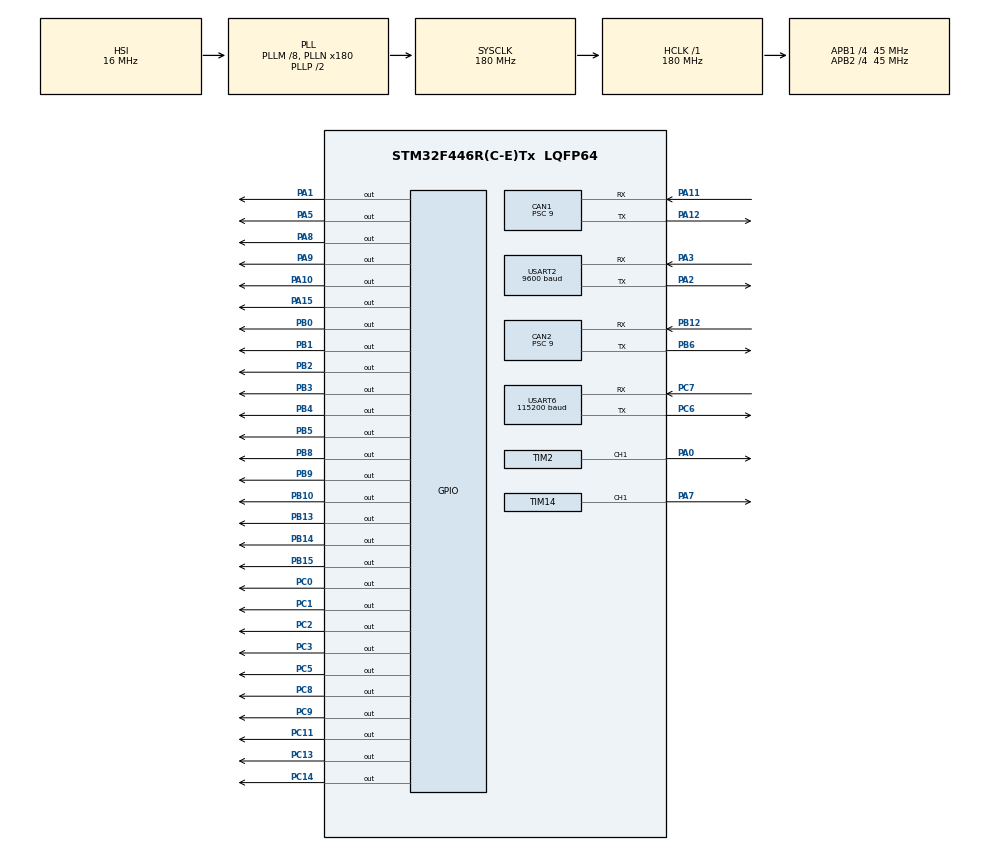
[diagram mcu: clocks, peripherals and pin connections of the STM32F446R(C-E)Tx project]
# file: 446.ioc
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CAN1.BS1=CAN_BS1_5TQ
CAN1.BS2=CAN_BS2_4TQ
CAN1.CalculateBaudRate=500000
CAN1.CalculateTimeBit=2000
CAN1.CalculateTimeQuantum=200.0
CAN1.Mode=CAN_MODE_NORMAL
CAN1.Prescaler=9
CAN2.BS1=CAN_BS1_5TQ
CAN2.BS2=CAN_BS2_4TQ
CAN2.CalculateBaudRate=500000
CAN2.CalculateTimeBit=2000
CAN2.CalculateTimeQuantum=200.0
CAN2.Mode=CAN_MODE_NORMAL
CAN2.Prescaler=9
Dma.Request0=TIM2_CH1
Dma.TIM2_CH1.0.Direction=DMA_MEMORY_TO_PERIPH
Dma.TIM2_CH1.0.FIFOMode=DMA_FIFOMODE_DISABLE
Dma.TIM2_CH1.0.Instance=DMA1_Stream5
Dma.TIM2_CH1.0.MemDataAlignment=DMA_MDATAALIGN_HALFWORD
Dma.TIM2_CH1.0.MemInc=DMA_MINC_ENABLE
Dma.TIM2_CH1.0.Mode=DMA_NORMAL
Dma.TIM2_CH1.0.PeriphDataAlignment=DMA_PDATAALIGN_HALFWORD
Dma.TIM2_CH1.0.PeriphInc=DMA_PINC_DISABLE
Dma.TIM2_CH1.0.Priority=DMA_PRIORITY_LOW
Mcu.Family=STM32F4
Mcu.Name=STM32F446R(C-E)Tx
Mcu.Package=LQFP64
NVIC.CAN1_RX0_IRQn=true\:2\:0\:true\:false\:true\:true\:true\:true
NVIC.CAN2_RX0_IRQn=true\:0\:0\:false\:false\:true\:true\:true\:true
NVIC.DMA1_Stream5_IRQn=true\:0\:0\:false\:false\:true\:false\:true\:true
NVIC.PriorityGroup=NVIC_PRIORITYGROUP_4
NVIC.TIM2_IRQn=true\:0\:0\:false\:false\:true\:true\:true\:true
NVIC.TIM8_TRG_COM_TIM14_IRQn=true\:2\:0\:true\:false\:true\:true\:true\:true
PA0-WKUP.Signal=S_TIM2_CH1_ETR
PA1.Signal=GPIO_Output
PA10.Signal=GPIO_Output
PA11.Mode=CAN_Activate
PA11.Signal=CAN1_RX
PA12.Mode=CAN_Activate
PA12.Signal=CAN1_TX
PA13.Mode=Serial_Wire
PA13.Signal=SYS_JTMS-SWDIO
PA14.Mode=Serial_Wire
PA14.Signal=SYS_JTCK-SWCLK
PA15.Signal=GPIO_Output
PA2.Mode=Asynchronous
PA2.Signal=USART2_TX
PA3.Mode=Asynchronous
PA3.Signal=USART2_RX
PA4.Signal=SPI1_NSS
PA5.Signal=GPIO_Output
PA7.Signal=S_TIM14_CH1
PA8.Signal=GPIO_Output
PA9.Signal=GPIO_Output
PB0.Signal=GPIO_Output
PB1.Signal=GPIO_Output
PB10.Signal=GPIO_Output
PB12.Mode=CAN_Activate
PB12.Signal=CAN2_RX
PB13.Signal=GPIO_Output
PB14.Signal=GPIO_Output
PB15.Signal=GPIO_Output
PB2.Signal=GPIO_Output
PB3.Signal=GPIO_Output
PB4.Signal=GPIO_Output
PB5.Signal=GPIO_Output
PB6.Mode=CAN_Activate
PB6.Signal=CAN2_TX
PB8.Signal=GPIO_Output
PB9.Signal=GPIO_Output
PC0.Signal=GPIO_Output
PC1.Signal=GPIO_Output
PC11.Signal=GPIO_Output
PC13.Signal=GPIO_Output
PC14-OSC32_IN.Signal=GPIO_Output
PC2.Signal=GPIO_Output
PC3.Signal=GPIO_Output
PC5.Signal=GPIO_Output
PC6.Mode=Asynchronous
PC6.Signal=USART6_TX
PC7.Mode=Asynchronous
PC7.Signal=USART6_RX
PC8.Signal=GPIO_Output
PC9.Signal=GPIO_Output
PH0-OSC_IN.Mode=HSE-External-Oscillator
PH0-OSC_IN.Signal=RCC_OSC_IN
PH1-OSC_OUT.Mode=HSE-External-Oscillator
PH1-OSC_OUT.Signal=RCC_OSC_OUT
ProjectManager.HeapSize=0x200
ProjectManager.StackSize=0x400
ProjectManager.TargetToolchain=STM32CubeIDE
RCC.AHBFreq_Value=180000000
RCC.APB1CLKDivider=RCC_HCLK_DIV4
RCC.APB1Freq_Value=45000000
RCC.APB1TimFreq_Value=90000000
RCC.APB2CLKDivider=RCC_HCLK_DIV4
RCC.APB2Freq_Value=45000000
RCC.APB2TimFreq_Value=90000000
RCC.CortexFreq_Value=180000000
RCC.HCLKFreq_Value=180000000
RCC.HSE_VALUE=8000000
RCC.PLLM=8
RCC.PLLN=180
RCC.SYSCLKFreq_VALUE=180000000
RCC.SYSCLKSource=RCC_SYSCLKSOURCE_PLLCLK
RCC.USBFreq_Value=180000000
RCC.VCOOutputFreq_Value=360000000
SH.S_TIM14_CH1.0=TIM14_CH1,PWM Generation1 CH1
SH.S_TIM2_CH1_ETR.0=TIM2_CH1,PWM Generation1 CH1
TIM14.Channel=TIM_CHANNEL_1
TIM14.Period=112.5 - 1
TIM14.Prescaler=0
TIM2.Channel-PWM\ Generation1\ CH1=TIM_CHANNEL_1
TIM2.Period=112
USART2.BaudRate=9600
USART2.VirtualMode=VM_ASYNC
USART6.BaudRate=115200
USART6.VirtualMode=VM_ASYNC
VP_TIM14_VS_ClockSourceINT.Mode=Enable_Timer
VP_TIM2_VS_ClockSourceINT.Mode=Internal
board=custom

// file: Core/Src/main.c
/* USER CODE BEGIN Header */
/**
  ******************************************************************************
  * @file           : main.c
  * @brief          : Main program body
  ******************************************************************************
  * @attention
  *
  * Copyright (c) 2024 STMicroelectronics.
  * All rights reserved.
  *
  * This software is licensed under terms that can be found in the LICENSE file
  * in the root directory of this software component.
  * If no LICENSE file comes with this software, it is provided AS-IS.
  *
  ******************************************************************************
  */
/* USER CODE END Header */
#include "main.h"

/* USER CODE BEGIN Includes */
#include "lcd.h"
#include "display.h"
#include "CAN.h"
#include <string.h>
#include <stdio.h>
#include <math.h>

/* USER CODE END Includes */

CAN_HandleTypeDef hcan1;
CAN_HandleTypeDef hcan2;

TIM_HandleTypeDef htim2;
TIM_HandleTypeDef htim14;
DMA_HandleTypeDef hdma_tim2_ch1;

UART_HandleTypeDef huart2;
UART_HandleTypeDef huart6;

/* USER CODE BEGIN PV */
CAN_TxHeaderTypeDef TxHeader;
CAN_RxHeaderTypeDef RxHeader; //global??
uint32_t TxMailbox;
uint8_t TxData[8];
uint8_t RxData[8];

Lcd_HandleTypeDef lcd;

char lcdbuffer[32]; // buffer to hold the data we are displaying
char lcdbuffer2[32];
int batt_volt;
volatile int sixty = 70;
uint8_t rxflag = 0;
uint32_t volt = 0;

/* USER CODE END PV */

void SystemClock_Config(void);
static void MX_GPIO_Init(void);
static void MX_DMA_Init(void);
static void MX_TIM14_Init(void);
static void MX_USART2_UART_Init(void);
static void MX_CAN2_Init(void);
static void MX_CAN1_Init(void);
static void MX_TIM2_Init(void);
static void MX_USART6_UART_Init(void);

int main(void)
{

  /* USER CODE BEGIN 1 */

	// UART parameters to display voltage
//	char voltage_buf[20];
//	char oil_buf[20];
//	char the_header[50];

  /* USER CODE END 1 */

  /* MCU Configuration--------------------------------------------------------*/

  /* Reset of all peripherals, Initializes the Flash interface and the Systick. */
  HAL_Init();

  /* Configure the system clock */
  SystemClock_Config();

  /* Initialize all configured peripherals */
  MX_GPIO_Init();
  MX_DMA_Init();
  MX_TIM14_Init();
  MX_USART2_UART_Init();
  MX_CAN2_Init();
  MX_CAN1_Init();
  MX_TIM2_Init();
  MX_USART6_UART_Init();
  /* USER CODE BEGIN 2 */
HAL_GPIO_WritePin(GPIOC, GPIO_PIN_1, GPIO_PIN_SET);
HAL_GPIO_WritePin(GPIOA, GPIO_PIN_15, GPIO_PIN_SET);
//HAL_GPIO_WritePin(GPIOC, GPIO_PIN_10, GPIO_PIN_SET);
//HAL_GPIO_WritePin(GPIOC, GPIO_PIN_3, GPIO_PIN_SET);
//HAL_GPIO_WritePin(GPIOC, GPIO_PIN_13, GPIO_PIN_SET);

  // timer is started
  HAL_TIM_Base_Start_IT(&htim14); // starts the timer interrupt
  //HAL_TIM_Base_Start_IT(&htim7);

//
  Lcd_PortType ports[] = {
		  D4_GPIO_Port, D5_GPIO_Port, D6_GPIO_Port, D7_GPIO_Port
  };

  Lcd_PinType pins[] = {D4_Pin, D5_Pin, D6_Pin, D7_Pin};

 lcd = Lcd_create(ports, pins, RS_GPIO_Port, RS_Pin, EN_GPIO_Port, EN_Pin, LCD_4_BIT_MODE);
 Lcd_clear(&lcd);
batt_volt = 5;

  /* USER CODE END 2 */

  /* Infinite loop */
  /* USER CODE BEGIN WHILE */

  while (1)
  {

//
	// int rpm = ((RxData[0] << 8) | RxData[1]);
	//  int rpm = ((RxData[0] | RxData[1]) << 8) * 6;

	  int rpm = (RxData[1] + (256 * RxData[0]));
	  int coolant = RxData[2];
	  int oil = RxData[3];
	  int bv = RxData[5];

	 if (rxflag){

		 rxflag = 0;

		 if (rpm > 0 || coolant > 0 || oil > 0 || bv > 0){

			 // int voltvalue = RxData[5];

		        //Lcd_clear(&lcd);
			 	Lcd_cursor(&lcd, 0, 0);
		        sprintf(lcdbuffer, "BV:%2d.%1d RPM:%5d", bv / 10, bv % 10, rpm);
		    	Lcd_string(&lcd, lcdbuffer);
//		        HAL_Delay(100);
		    //	Lcd_clear(&lcd);

		    	// condition 2:

		    	Lcd_cursor(&lcd, 1, 0);
		    	 sprintf(lcdbuffer, "OIL: %2d CT: %2d  ", oil, coolant);
		    	 Lcd_string(&lcd, lcdbuffer);
				    //	Lcd_clear(&lcd);
		    	 HAL_Delay(100);

		 }
//		 unsigned int uart_buffer_expression = sprintf(lcdbuffer2, "%u\r\n", RxData[5]);
//
//
//				         	  HAL_UART_Transmit(&huart2, (uint8_t *)lcdbuffer2, uart_buffer_expression, HAL_MAX_DELAY);

	//	 }
	 }

	 else {
		// HAL_GPIO_TogglePin(GPIOC, GPIO_PIN_10);

//
		 Lcd_cursor(&lcd, 0, 0);
		     Lcd_string(&lcd, "BV: 0.0 RPM:  0 ");

		     Lcd_cursor(&lcd, 1, 0);
		     Lcd_string(&lcd, "OIL:  0 CT:  0  ");

		 		    	    HAL_Delay(80);

		 		    	  //  Lcd_clear(&lcd);

	 }

		char arduino_msg[20];  // Create a buffer to hold the converted integer message

	    // Convert the integer value to a string
	 //   sprintf(arduino_msg, "%d\n", RxData[5]);
		sprintf(arduino_msg, "%d\n", rpm);

	    // Transmit the string over UART6
	    HAL_UART_Transmit(&huart6, (uint8_t*)arduino_msg, strlen(arduino_msg), HAL_MAX_DELAY);

//
	   HAL_Delay(300); // delay of 1ms // was 500

    /* USER CODE END WHILE */

  }
}

void SystemClock_Config(void)
{
  RCC_OscInitTypeDef RCC_OscInitStruct = {0};
  RCC_ClkInitTypeDef RCC_ClkInitStruct = {0};

  /** Configure the main internal regulator output voltage
  */
  __HAL_RCC_PWR_CLK_ENABLE();
  __HAL_PWR_VOLTAGESCALING_CONFIG(PWR_REGULATOR_VOLTAGE_SCALE1);

  /** Initializes the RCC Oscillators according to the specified parameters
  * in the RCC_OscInitTypeDef structure.
  */
  RCC_OscInitStruct.OscillatorType = RCC_OSCILLATORTYPE_HSI;
  RCC_OscInitStruct.HSIState = RCC_HSI_ON;
  RCC_OscInitStruct.HSICalibrationValue = RCC_HSICALIBRATION_DEFAULT;
  RCC_OscInitStruct.PLL.PLLState = RCC_PLL_ON;
  RCC_OscInitStruct.PLL.PLLSource = RCC_PLLSOURCE_HSI;
  RCC_OscInitStruct.PLL.PLLM = 8;
  RCC_OscInitStruct.PLL.PLLN = 180;
  RCC_OscInitStruct.PLL.PLLP = RCC_PLLP_DIV2;
  RCC_OscInitStruct.PLL.PLLQ = 2;
  RCC_OscInitStruct.PLL.PLLR = 2;
  if (HAL_RCC_OscConfig(&RCC_OscInitStruct) != HAL_OK)
  {
    Error_Handler();
  }

  /** Activate the Over-Drive mode
  */
  if (HAL_PWREx_EnableOverDrive() != HAL_OK)
  {
    Error_Handler();
  }

  /** Initializes the CPU, AHB and APB buses clocks
  */
  RCC_ClkInitStruct.ClockType = RCC_CLOCKTYPE_HCLK|RCC_CLOCKTYPE_SYSCLK
                              |RCC_CLOCKTYPE_PCLK1|RCC_CLOCKTYPE_PCLK2;
  RCC_ClkInitStruct.SYSCLKSource = RCC_SYSCLKSOURCE_PLLCLK;
  RCC_ClkInitStruct.AHBCLKDivider = RCC_SYSCLK_DIV1;
  RCC_ClkInitStruct.APB1CLKDivider = RCC_HCLK_DIV4;
  RCC_ClkInitStruct.APB2CLKDivider = RCC_HCLK_DIV4;

  if (HAL_RCC_ClockConfig(&RCC_ClkInitStruct, FLASH_LATENCY_5) != HAL_OK)
  {
    Error_Handler();
  }
}

static void MX_CAN1_Init(void)
{

  hcan1.Instance = CAN1;
  hcan1.Init.Prescaler = 9;
  hcan1.Init.Mode = CAN_MODE_NORMAL;
  hcan1.Init.SyncJumpWidth = CAN_SJW_1TQ;
  hcan1.Init.TimeSeg1 = CAN_BS1_5TQ;
  hcan1.Init.TimeSeg2 = CAN_BS2_4TQ;
  hcan1.Init.TimeTriggeredMode = DISABLE;
  hcan1.Init.AutoBusOff = DISABLE;
  hcan1.Init.AutoWakeUp = DISABLE;
  hcan1.Init.AutoRetransmission = DISABLE;
  hcan1.Init.ReceiveFifoLocked = DISABLE;
  hcan1.Init.TransmitFifoPriority = DISABLE;
  if (HAL_CAN_Init(&hcan1) != HAL_OK)
  {
    Error_Handler();
  }
  /* USER CODE BEGIN CAN1_Init 2 */

  	  	  	  CAN_FilterTypeDef  canonefilter;

    		  canonefilter.FilterBank = 1; //change to 1 if CAN stops working
    		  canonefilter.FilterMode = CAN_FILTERMODE_IDMASK;
    		  canonefilter.FilterScale = CAN_FILTERSCALE_32BIT;
    		  canonefilter.FilterIdHigh = 0x0000;
    		  canonefilter.FilterIdLow = 0x0000;
    		  canonefilter.FilterMaskIdHigh = 0x0000;
    		  canonefilter.FilterMaskIdLow = 0x0000;
    		  canonefilter.FilterFIFOAssignment = CAN_RX_FIFO0;
    		  canonefilter.FilterActivation = CAN_FILTER_ENABLE;
    		  canonefilter.SlaveStartFilterBank = 1; // meaningless in our context

    		  	  HAL_CAN_ConfigFilter(&hcan1, &canonefilter);
    		  	  HAL_CAN_Start(&hcan1);

    		  	  HAL_CAN_ActivateNotification(&hcan1, CAN_IT_RX_FIFO0_MSG_PENDING); // potentially not needed

  /* USER CODE END CAN1_Init 2 */

}

static void MX_CAN2_Init(void)
{

  hcan2.Instance = CAN2;
  hcan2.Init.Prescaler = 9;
  hcan2.Init.Mode = CAN_MODE_NORMAL;
  hcan2.Init.SyncJumpWidth = CAN_SJW_1TQ;
  hcan2.Init.TimeSeg1 = CAN_BS1_5TQ;
  hcan2.Init.TimeSeg2 = CAN_BS2_4TQ;
  hcan2.Init.TimeTriggeredMode = DISABLE;
  hcan2.Init.AutoBusOff = DISABLE;
  hcan2.Init.AutoWakeUp = DISABLE;
  hcan2.Init.AutoRetransmission = DISABLE;
  hcan2.Init.ReceiveFifoLocked = DISABLE;
  hcan2.Init.TransmitFifoPriority = DISABLE;
  if (HAL_CAN_Init(&hcan2) != HAL_OK)
  {
    Error_Handler();
  }
  /* USER CODE BEGIN CAN2_Init 2 */

  CAN_FilterTypeDef  canfilterconfig;

  		  canfilterconfig.FilterBank = 1; //change to 1 if CAN stops working
  		  canfilterconfig.FilterMode = CAN_FILTERMODE_IDMASK;
  		  canfilterconfig.FilterScale = CAN_FILTERSCALE_32BIT;
  		  canfilterconfig.FilterIdHigh = 0x0000;
  		  canfilterconfig.FilterIdLow = 0x0000;
  		  canfilterconfig.FilterMaskIdHigh = 0x0000;
  		  canfilterconfig.FilterMaskIdLow = 0x0000;
  		  canfilterconfig.FilterFIFOAssignment = CAN_RX_FIFO0;
  		  canfilterconfig.FilterActivation = CAN_FILTER_ENABLE;
  		  canfilterconfig.SlaveStartFilterBank = 14; // meaningless in our context

  		  	  HAL_CAN_ConfigFilter(&hcan2, &canfilterconfig);
  		  	  HAL_CAN_Start(&hcan2);

  		  	  HAL_CAN_ActivateNotification(&hcan2, CAN_IT_RX_FIFO0_MSG_PENDING);

  	  	    TxHeader.StdId = 0x0446;  // ID 2 (to match H7's filter)
 	        TxHeader.IDE = CAN_ID_STD;  // Standard ID
 	        TxHeader.RTR = CAN_RTR_DATA;  // Data frame
 	        TxHeader.DLC = 8;  // Length of data (3 bytes)
 	        TxHeader.TransmitGlobalTime = DISABLE;

  /* USER CODE END CAN2_Init 2 */

}

static void MX_TIM2_Init(void)
{

  TIM_ClockConfigTypeDef sClockSourceConfig = {0};
  TIM_MasterConfigTypeDef sMasterConfig = {0};
  TIM_OC_InitTypeDef sConfigOC = {0};

  htim2.Instance = TIM2;
  htim2.Init.Prescaler = 0;
  htim2.Init.CounterMode = TIM_COUNTERMODE_UP;
  htim2.Init.Period = 112;
  htim2.Init.ClockDivision = TIM_CLOCKDIVISION_DIV1;
  htim2.Init.AutoReloadPreload = TIM_AUTORELOAD_PRELOAD_DISABLE;
  if (HAL_TIM_Base_Init(&htim2) != HAL_OK)
  {
    Error_Handler();
  }
  sClockSourceConfig.ClockSource = TIM_CLOCKSOURCE_INTERNAL;
  if (HAL_TIM_ConfigClockSource(&htim2, &sClockSourceConfig) != HAL_OK)
  {
    Error_Handler();
  }
  if (HAL_TIM_PWM_Init(&htim2) != HAL_OK)
  {
    Error_Handler();
  }
  sMasterConfig.MasterOutputTrigger = TIM_TRGO_RESET;
  sMasterConfig.MasterSlaveMode = TIM_MASTERSLAVEMODE_DISABLE;
  if (HAL_TIMEx_MasterConfigSynchronization(&htim2, &sMasterConfig) != HAL_OK)
  {
    Error_Handler();
  }
  sConfigOC.OCMode = TIM_OCMODE_PWM1;
  sConfigOC.Pulse = 0;
  sConfigOC.OCPolarity = TIM_OCPOLARITY_HIGH;
  sConfigOC.OCFastMode = TIM_OCFAST_DISABLE;
  if (HAL_TIM_PWM_ConfigChannel(&htim2, &sConfigOC, TIM_CHANNEL_1) != HAL_OK)
  {
    Error_Handler();
  }
  HAL_TIM_MspPostInit(&htim2);

}

static void MX_TIM14_Init(void)
{

  TIM_OC_InitTypeDef sConfigOC = {0};

  htim14.Instance = TIM14;
  htim14.Init.Prescaler = 0;
  htim14.Init.CounterMode = TIM_COUNTERMODE_UP;
  htim14.Init.Period = 112.5 - 1;
  htim14.Init.ClockDivision = TIM_CLOCKDIVISION_DIV1;
  htim14.Init.AutoReloadPreload = TIM_AUTORELOAD_PRELOAD_DISABLE;
  if (HAL_TIM_Base_Init(&htim14) != HAL_OK)
  {
    Error_Handler();
  }
  if (HAL_TIM_PWM_Init(&htim14) != HAL_OK)
  {
    Error_Handler();
  }
  sConfigOC.OCMode = TIM_OCMODE_PWM1;
  sConfigOC.Pulse = 0;
  sConfigOC.OCPolarity = TIM_OCPOLARITY_HIGH;
  sConfigOC.OCFastMode = TIM_OCFAST_DISABLE;
  if (HAL_TIM_PWM_ConfigChannel(&htim14, &sConfigOC, TIM_CHANNEL_1) != HAL_OK)
  {
    Error_Handler();
  }
  HAL_TIM_MspPostInit(&htim14);

}

static void MX_USART2_UART_Init(void)
{

  huart2.Instance = USART2;
  huart2.Init.BaudRate = 9600;
  huart2.Init.WordLength = UART_WORDLENGTH_8B;
  huart2.Init.StopBits = UART_STOPBITS_1;
  huart2.Init.Parity = UART_PARITY_NONE;
  huart2.Init.Mode = UART_MODE_TX_RX;
  huart2.Init.HwFlowCtl = UART_HWCONTROL_NONE;
  huart2.Init.OverSampling = UART_OVERSAMPLING_16;
  if (HAL_UART_Init(&huart2) != HAL_OK)
  {
    Error_Handler();
  }

}

static void MX_USART6_UART_Init(void)
{

  huart6.Instance = USART6;
  huart6.Init.BaudRate = 115200;
  huart6.Init.WordLength = UART_WORDLENGTH_8B;
  huart6.Init.StopBits = UART_STOPBITS_1;
  huart6.Init.Parity = UART_PARITY_NONE;
  huart6.Init.Mode = UART_MODE_TX_RX;
  huart6.Init.HwFlowCtl = UART_HWCONTROL_NONE;
  huart6.Init.OverSampling = UART_OVERSAMPLING_16;
  if (HAL_UART_Init(&huart6) != HAL_OK)
  {
    Error_Handler();
  }

}

static void MX_DMA_Init(void)
{

  /* DMA controller clock enable */
  __HAL_RCC_DMA1_CLK_ENABLE();

  /* DMA interrupt init */
  /* DMA1_Stream5_IRQn interrupt configuration */
  HAL_NVIC_SetPriority(DMA1_Stream5_IRQn, 0, 0);
  HAL_NVIC_EnableIRQ(DMA1_Stream5_IRQn);

}

static void MX_GPIO_Init(void)
{
  GPIO_InitTypeDef GPIO_InitStruct = {0};

  /* GPIO Ports Clock Enable */
  __HAL_RCC_GPIOC_CLK_ENABLE();
  __HAL_RCC_GPIOH_CLK_ENABLE();
  __HAL_RCC_GPIOA_CLK_ENABLE();
  __HAL_RCC_GPIOB_CLK_ENABLE();

  /*Configure GPIO pin Output Level */
  HAL_GPIO_WritePin(GPIOC, GPIO_PIN_13|GPIO_PIN_14|GPIO_PIN_0|GPIO_PIN_1
                          |GPIO_PIN_2|GPIO_PIN_3|GPIO_PIN_5|GPIO_PIN_8
                          |GPIO_PIN_9|GPIO_PIN_11, GPIO_PIN_RESET);

  /*Configure GPIO pin Output Level */
  HAL_GPIO_WritePin(GPIOA, GPIO_PIN_1|GPIO_PIN_5|GPIO_PIN_8|GPIO_PIN_9
                          |GPIO_PIN_10|GPIO_PIN_15, GPIO_PIN_RESET);

  /*Configure GPIO pin Output Level */
  HAL_GPIO_WritePin(GPIOB, GPIO_PIN_0|GPIO_PIN_1|GPIO_PIN_2|GPIO_PIN_10
                          |GPIO_PIN_13|GPIO_PIN_14|GPIO_PIN_15|GPIO_PIN_3
                          |GPIO_PIN_4|GPIO_PIN_5|GPIO_PIN_8|GPIO_PIN_9, GPIO_PIN_RESET);

  /*Configure GPIO pins : PC13 PC14 PC0 PC1
                           PC2 PC3 PC5 PC8
                           PC9 PC11 */
  GPIO_InitStruct.Pin = GPIO_PIN_13|GPIO_PIN_14|GPIO_PIN_0|GPIO_PIN_1
                          |GPIO_PIN_2|GPIO_PIN_3|GPIO_PIN_5|GPIO_PIN_8
                          |GPIO_PIN_9|GPIO_PIN_11;
  GPIO_InitStruct.Mode = GPIO_MODE_OUTPUT_PP;
  GPIO_InitStruct.Pull = GPIO_NOPULL;
  GPIO_InitStruct.Speed = GPIO_SPEED_FREQ_LOW;
  HAL_GPIO_Init(GPIOC, &GPIO_InitStruct);

  /*Configure GPIO pins : PA1 PA5 PA8 PA9
                           PA10 PA15 */
  GPIO_InitStruct.Pin = GPIO_PIN_1|GPIO_PIN_5|GPIO_PIN_8|GPIO_PIN_9
                          |GPIO_PIN_10|GPIO_PIN_15;
  GPIO_InitStruct.Mode = GPIO_MODE_OUTPUT_PP;
  GPIO_InitStruct.Pull = GPIO_NOPULL;
  GPIO_InitStruct.Speed = GPIO_SPEED_FREQ_LOW;
  HAL_GPIO_Init(GPIOA, &GPIO_InitStruct);

  /*Configure GPIO pin : PA4 */
  GPIO_InitStruct.Pin = GPIO_PIN_4;
  GPIO_InitStruct.Mode = GPIO_MODE_AF_PP;
  GPIO_InitStruct.Pull = GPIO_NOPULL;
  GPIO_InitStruct.Speed = GPIO_SPEED_FREQ_VERY_HIGH;
  GPIO_InitStruct.Alternate = GPIO_AF5_SPI1;
  HAL_GPIO_Init(GPIOA, &GPIO_InitStruct);

  /*Configure GPIO pins : PB0 PB1 PB2 PB10
                           PB13 PB14 PB15 PB3
                           PB4 PB5 PB8 PB9 */
  GPIO_InitStruct.Pin = GPIO_PIN_0|GPIO_PIN_1|GPIO_PIN_2|GPIO_PIN_10
                          |GPIO_PIN_13|GPIO_PIN_14|GPIO_PIN_15|GPIO_PIN_3
                          |GPIO_PIN_4|GPIO_PIN_5|GPIO_PIN_8|GPIO_PIN_9;
  GPIO_InitStruct.Mode = GPIO_MODE_OUTPUT_PP;
  GPIO_InitStruct.Pull = GPIO_NOPULL;
  GPIO_InitStruct.Speed = GPIO_SPEED_FREQ_LOW;
  HAL_GPIO_Init(GPIOB, &GPIO_InitStruct);

}

/* USER CODE BEGIN 4 */

void HAL_CAN_RxFifo0MsgPendingCallback(CAN_HandleTypeDef *hcan)
{

	// changed values hcan->Instance = CAN2 and inside get hcan -> &hcan2

	if (hcan->Instance == CAN2) {
  /* Get RX message */
  if (HAL_CAN_GetRxMessage(hcan, CAN_RX_FIFO0, &RxHeader, RxData) != HAL_OK)
  {

    /* Reception Error */
    Error_Handler();
  	  }

  	//  batt_volt = RxData[5];
    	rxflag = 1;

    //	  int rpm2 = (RxData[1] + (256 * RxData[0]));

//    	int rpm2 = (RxData[1] + (256 * RxData[0]));
//
//
//      //uint32_t voltage = RxData[5];
//	  	//  char uart_buffer[20];
//	    //  unsigned int uart_buffer_size = sprintf(uart_buffer, "StdId: 0x%3X\r\n", (unsigned int) voltage);
//
//  	//  if (RxHeader.StdId == 0x623){
//	  char uart_buffer[20];
////
////	  // HAVING THE UART DEBUG STATEMENTS IN HERE WILL THROW OFF THE DISPLAY CODE
////
//////	   //Format as decimal
//	  unsigned int uart_buffer_expression = sprintf(uart_buffer, "Voltage: %d\n%d\r\n", rpm2, RxData[2]);
////	//  unsigned int uart_buffer_expression = sprintf(lcd_buffer, "Voltage: %u\r\n", batt_volt);
////
////
//	  HAL_UART_Transmit(&huart2, (uint8_t *)uart_buffer, uart_buffer_expression, HAL_MAX_DELAY);

 // 	  }

  //if (RxHeader.StdId == 0x651){
	    	  //char uart_buffer[20];
	  	      //unsigned int uart_buffer_size = sprintf(uart_buffer, "StdId: 0x%3X\r\n", (unsigned int) RxHeader.StdId);

	  	    //  HAL_UART_Transmit(&huart2, (uint8_t *)uart_buffer, uart_buffer_size, HAL_MAX_DELAY);
  //}

	}

}

// The function below this is the timer interrupt callback (Code within the specific timers constantly executes)

void HAL_TIM_PeriodElapsedCallback(TIM_HandleTypeDef *htim) {
//    static uint32_t timer_val = 0;  // Persistent timer value
//    static uint8_t led_state = 0;  // 0: LED off, 1: LED on
//
//
////
////
    if (htim == &htim14) { // Check if this is TIM14 interrupt

    	//HAL_GPIO_TogglePin(GPIOA, GPIO_PIN_5);

    }

////    // set a priority between the interrupts since the time at which they refresh doesn't matter as they will eventually run into each other
    if (htim->Instance == TIM7) {
//    	DisplayRxData(oil_temp);

    //	HAL_GPIO_TogglePin(GPIOA, GPIO_PIN_5);

    }
}

/* USER CODE END 4 */

void Error_Handler(void)
{
  __disable_irq();
  while (1)
  {
  }
}
